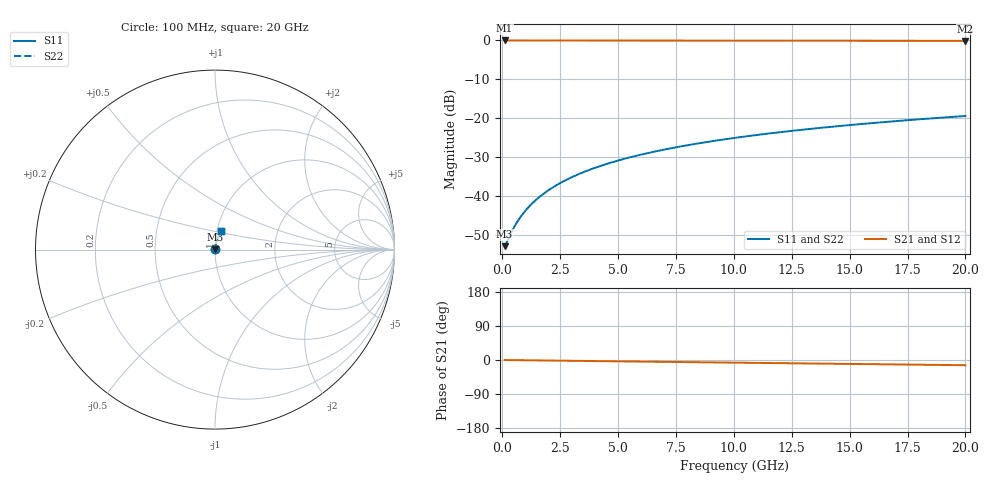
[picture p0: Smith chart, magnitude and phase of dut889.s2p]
! Touchstone file exported from HFSS 2026.1.0
!  File:  C:/ffzhzh/LocalFiles/Ansys_Project_Files/temp_train_BSMRDL_889_1783171190_51560.aedt
!  Generated:  09:21:00 PM Jul  4, 2026
!  Design:  BSMRDL
!  Project:  temp_train_BSMRDL_889_1783171190_51560
! Variables:
!  h_bsmrdl = 3.3um
!  h_ox = 20um
!  h_rdl = 5um
!  h_sub = 80um
!  h_tmrdl = 5um
!  h_tsv = 80um
!  h_via = 3um
!  l_bsmrdl = 212.1um
!  l_sub = 612.1um
!  l_tmrdl = 200um
!  m_sub = 200um
!  pitch = 20.39um
!  r_tsv = 6um
!  s_tmrdl = 10um
!  w_bsmrdl = 11.15um
!  w_sub = 500um
!  w_tmrdl = 12um
!  x_tsv_center1 = 206um
!  x_tsv_center2 = 429.25um
!  x_tsv_center3 = 641.25um
!  x_tsv_center4 = 864.5um
!  x_tsv_center5 = 1076.5um
!  x_tsv_center6 = 1299.75um
# GHz S MA R 50.000000
! Terminal data exported
! Port[1] = BSM_RDL1_1_T1
! Port[2] = BSM_RDL1_1_T2
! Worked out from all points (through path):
!   200 points, 100 MHz to 20 GHz, reference 50 ohm
!   highest |S21| = -0.02 dB at 100 MHz (marker M1); lowest = -0.1 dB at 20 GHz (marker M2)
!   group delay of S21, straight-line fit = 1.91 ps
!   lowest |S11| = -52.8 dB at 100 MHz (marker M3), VSWR 1.00, Z = 50.2 + j0.0667 ohm
!   |S11| at or under -10 dB: start of sweep to end of sweep
!   |S22| runs from -52.8 to -19.4 dB; largest |S21 - S12| = 2.9e-15
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0.1  0.002295 16.8  0.9978 -0.1  0.9978 -0.1  0.002295 16.8
! Gamma 0 0 0 0
! Port Impedance 50 0 50 0
0.2  0.002597 30.4  0.9978 -0.2  0.9978 -0.2  0.002597 30.4
0.4  0.00348 47.1  0.9976 -0.3  0.9976 -0.3  0.00348 47.1
0.5  0.003973 52.2  0.9976 -0.4  0.9976 -0.4  0.003973 52.2
0.7  0.004989 59.2  0.9975 -0.5  0.9975 -0.5  0.004989 59.2
1  0.006554 65.7  0.9974 -0.7  0.9974 -0.7  0.006554 65.7
1.2  0.007619 68.6  0.9973 -0.9  0.9973 -0.9  0.007619 68.6
1.4  0.0087 70.8  0.9972 -1.0  0.9972 -1.0  0.0087 70.8
1.8  0.01089 73.9  0.9971 -1.3  0.9971 -1.3  0.01089 73.9
2.3  0.01367 76.2  0.997 -1.6  0.997 -1.6  0.01367 76.2
2.9  0.01702 77.8  0.9969 -2.1  0.9969 -2.1  0.01702 77.8
3.5  0.02038 78.7  0.9967 -2.5  0.9967 -2.5  0.02038 78.7
4.2  0.0243 79.2  0.9964 -3.0  0.9964 -3.0  0.0243 79.2
5  0.02876 79.5  0.9961 -3.5  0.9961 -3.5  0.02876 79.5
5.9  0.03375 79.4  0.9957 -4.2  0.9957 -4.2  0.03375 79.4
6.8  0.0387 79.2  0.9952 -4.8  0.9952 -4.8  0.0387 79.2
8.3  0.04686 78.7  0.9944 -5.8  0.9944 -5.8  0.04686 78.7
10.1  0.0565 77.8  0.9933 -7.1  0.9933 -7.1  0.0565 77.8
11.7  0.06494 76.9  0.9923 -8.2  0.9923 -8.2  0.06494 76.9
13.4  0.07379 76.0  0.9912 -9.3  0.9912 -9.3  0.07379 76.0
16.7  0.09067 74.1  0.989 -11.5  0.989 -11.5  0.09067 74.1
20  0.1072 72.1  0.9866 -13.8  0.9866 -13.8  0.1072 72.1
